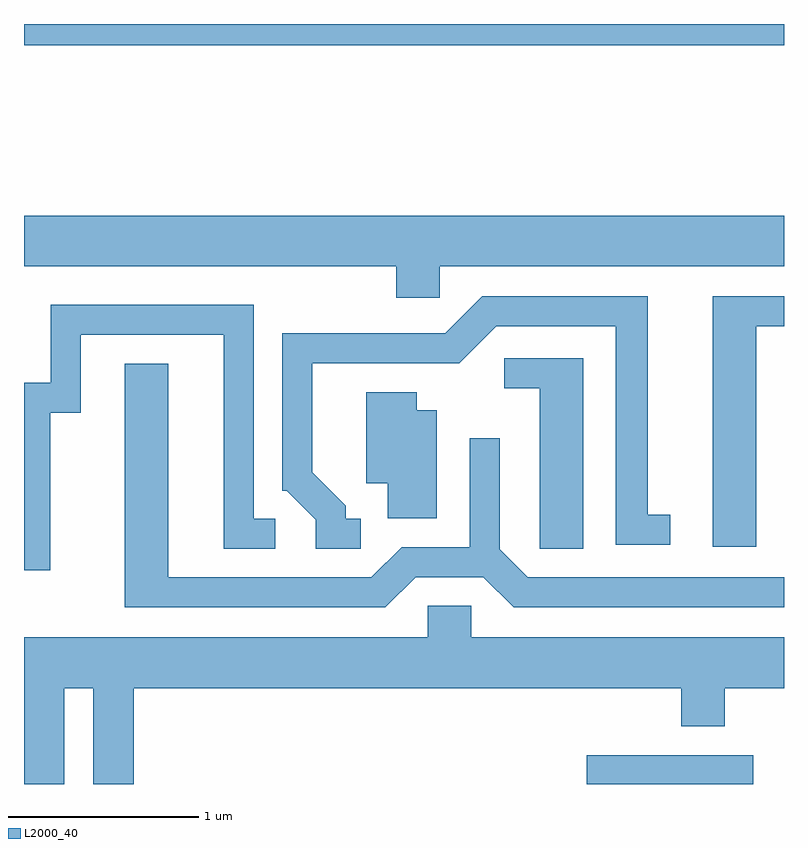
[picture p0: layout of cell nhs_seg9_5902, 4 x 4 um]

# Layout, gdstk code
import gdstk
lib = gdstk.Library(unit=1e-6, precision=1e-09)
def R(c, l, rs):  # rectangles x0, y0, x1, y1
    for r in rs: c.add(gdstk.rectangle(r[:2], r[2:], *l))
def P(c, l, *ps):  # polygons
    for p in ps: c.add(gdstk.Polygon(p, *l))
L2000_40 = (2000, 40)

nhs_seg9_5902 = lib.new_cell('nhs_seg9_5902')
R(nhs_seg9_5902, L2000_40, [(362.573,1982.432,363.449,1982.584), (359.611,1986.321,363.611,1986.432)])
P(nhs_seg9_5902, L2000_40, [(361.799,1985.156),(363.611,1985.156),(363.611,1985.424),(359.611,1985.424),(359.611,1985.156),(361.571,1985.156),(361.571,1984.991),(361.799,1984.991)],
  [(363.464,1984.841),(363.611,1984.841),(363.611,1984.999),(363.236,1984.999),(363.236,1983.681),(363.464,1983.681)],
  [(361.383,1983.829),(361.304,1983.829),(361.304,1983.897),(361.129,1984.072),(361.129,1984.646),(361.902,1984.646),(362.097,1984.841),(362.726,1984.841),(362.726,1983.691),(363.013,1983.691),(363.013,1983.849),(362.894,1983.849),(362.894,1984.999),(362.024,1984.999),(361.829,1984.804),(360.971,1984.804),(360.971,1983.976),(360.994,1983.976),(361.146,1983.824),(361.146,1983.671),(361.383,1983.671)],
  [(359.749,1984.386),(359.909,1984.386),(359.909,1984.796),(360.661,1984.796),(360.661,1983.671),(360.933,1983.671),(360.933,1983.829),(360.819,1983.829),(360.819,1984.954),(359.751,1984.954),(359.751,1984.544),(359.611,1984.544),(359.611,1983.556),(359.749,1983.556)],
  [(362.554,1984.674),(362.138,1984.674),(362.138,1984.516),(362.326,1984.516),(362.326,1983.671),(362.554,1983.671)],
  [(361.672,1983.521),(362.029,1983.521),(362.189,1983.361),(363.611,1983.361),(363.611,1983.519),(362.262,1983.519),(362.114,1983.667),(362.114,1984.253),(361.956,1984.253),(361.956,1983.679),(361.599,1983.679),(361.439,1983.519),(360.369,1983.519),(360.369,1984.644),(360.141,1984.644),(360.141,1983.361),(361.512,1983.361)],
  [(361.784,1984.399),(361.679,1984.399),(361.679,1984.494),(361.411,1984.494),(361.411,1984.016),(361.526,1984.016),(361.526,1983.831),(361.784,1983.831)],
  [(359.824,1982.936),(359.976,1982.936),(359.976,1982.432),(360.189,1982.432),(360.189,1982.936),(363.071,1982.936),(363.071,1982.736),(363.299,1982.736),(363.299,1982.936),(363.611,1982.936),(363.611,1983.204),(361.964,1983.204),(361.964,1983.369),(361.736,1983.369),(361.736,1983.204),(359.611,1983.204),(359.611,1982.432),(359.824,1982.432)])

lib.write_gds('nhs_seg9_5902.gds')
